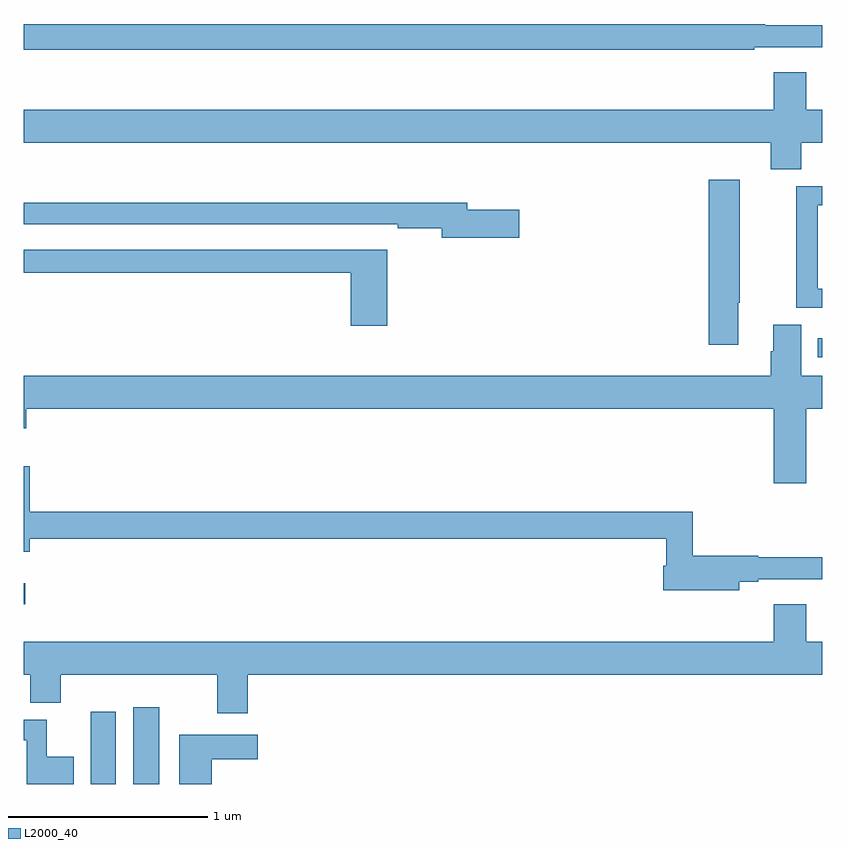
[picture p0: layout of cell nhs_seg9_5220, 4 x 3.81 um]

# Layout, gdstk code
import gdstk
lib = gdstk.Library(unit=1e-6, precision=1e-09)
def R(c, l, rs):  # rectangles x0, y0, x1, y1
    for r in rs: c.add(gdstk.rectangle(r[:2], r[2:], *l))
def P(c, l, *ps):  # polygons
    for p in ps: c.add(gdstk.Polygon(p, *l))
L2000_40 = (2000, 40)

nhs_seg9_5220 = lib.new_cell('nhs_seg9_5220')
R(nhs_seg9_5220, L2000_40, [(413.336,1234.5,413.461,1234.861), (413.549,1234.5,413.68,1234.885), (413,1235.399,413.008,1235.506), (416.978,1236.636,417,1236.732)])
P(nhs_seg9_5220, L2000_40, [(416.66,1238.19),(417,1238.19),(417,1238.299),(416.714,1238.299),(416.714,1238.306),(413,1238.306),(413,1238.178),(416.66,1238.178)],
  [(416.893,1237.712),(417,1237.712),(417,1237.876),(416.92,1237.876),(416.92,1238.065),(416.756,1238.065),(416.756,1237.876),(413,1237.876),(413,1237.712),(416.741,1237.712),(416.741,1237.579),(416.893,1237.579)],
  [(416.578,1236.911),(416.586,1236.911),(416.586,1237.525),(416.432,1237.525),(416.432,1236.699),(416.578,1236.699)],
  [(417,1236.981),(416.976,1236.981),(416.976,1237.398),(417,1237.398),(417,1237.494),(416.868,1237.494),(416.868,1236.885),(417,1236.885)],
  [(415.483,1237.377),(415.222,1237.377),(415.222,1237.411),(413,1237.411),(413,1237.302),(414.874,1237.302),(414.874,1237.282),(415.094,1237.282),(415.094,1237.235),(415.483,1237.235)],
  [(414.821,1237.176),(413,1237.176),(413,1237.06),(414.638,1237.06),(414.638,1236.795),(414.821,1236.795)],
  [(416.92,1236.38),(417,1236.38),(417,1236.544),(416.893,1236.544),(416.893,1236.8),(416.753,1236.8),(416.753,1236.666),(416.741,1236.666),(416.741,1236.544),(413,1236.544),(413,1236.281),(413.012,1236.281),(413.012,1236.38),(416.756,1236.38),(416.756,1236.006),(416.92,1236.006)],
  [(416.584,1235.514),(416.68,1235.514),(416.68,1235.526),(417,1235.526),(417,1235.635),(416.68,1235.635),(416.68,1235.642),(416.351,1235.642),(416.351,1235.864),(413.03,1235.864),(413.03,1236.091),(413,1236.091),(413,1235.664),(413.03,1235.664),(413.03,1235.728),(416.219,1235.728),(416.219,1235.593),(416.204,1235.593),(416.204,1235.471),(416.584,1235.471)],
  [(414.122,1235.048),(417,1235.048),(417,1235.212),(416.92,1235.212),(416.92,1235.401),(416.756,1235.401),(416.756,1235.212),(413,1235.212),(413,1235.048),(413.033,1235.048),(413.033,1234.907),(413.186,1234.907),(413.186,1235.048),(413.969,1235.048),(413.969,1234.854),(414.122,1234.854)],
  [(413.251,1234.636),(413.115,1234.636),(413.115,1234.822),(413,1234.822),(413,1234.718),(413.016,1234.718),(413.016,1234.5),(413.251,1234.5)],
  [(413.942,1234.625),(414.172,1234.625),(414.172,1234.747),(413.78,1234.747),(413.78,1234.5),(413.942,1234.5)])

lib.write_gds('nhs_seg9_5220.gds')
